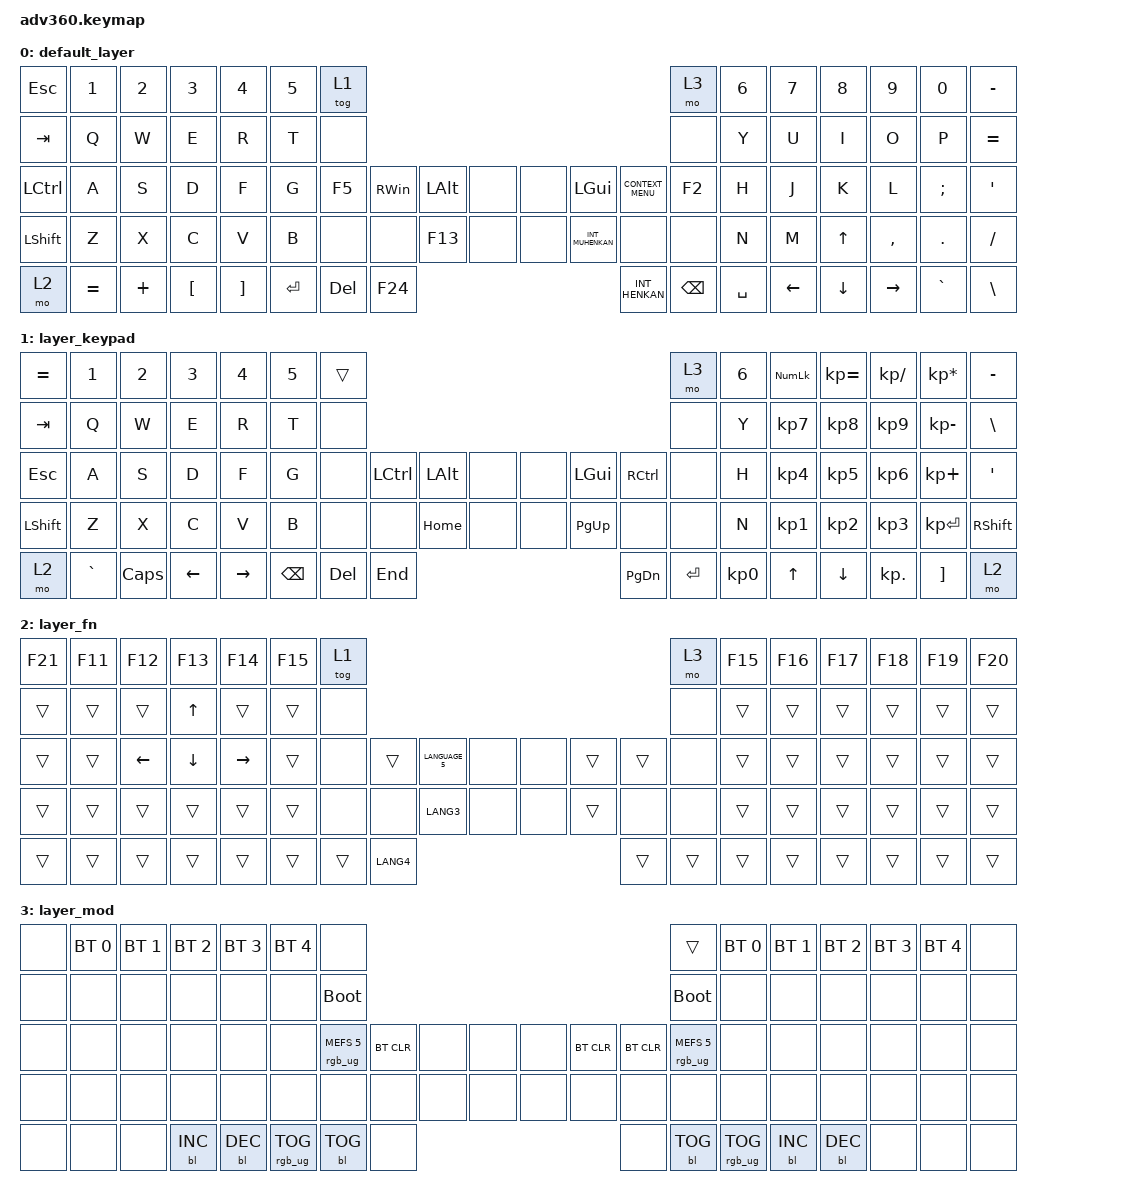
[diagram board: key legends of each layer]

/*
 * Copyright (c) 2020 The ZMK Contributors
 *
 * SPDX-License-Identifier: MIT
 */


/* THIS FILE WAS GENERATED!
 *
 * This file was generated automatically. You may or may not want to
 * edit it directly.
 */

#include <behaviors.dtsi>
#include <dt-bindings/zmk/keys.h>
#include <dt-bindings/zmk/bt.h>
#include <dt-bindings/zmk/rgb.h>
#include <dt-bindings/zmk/backlight.h>

/ {
  behaviors {
    #include "macros.dtsi"

    hm: homerow_mods {
        compatible = "zmk,behavior-hold-tap";
        label = "HOMEROW_MODS";
        #binding-cells = <2>;
        tapping-term-ms = <200>;
        quick_tap_ms = <175>;
        flavor = "tap-preferred";
        bindings = <&kp>, <&kp>;
    };
  };

    keymap {
        compatible = "zmk,keymap";


        default_layer {
            bindings = <
       &kp ESCAPE     &kp N1    &kp N2            &kp N3             &kp N4  &kp N5               &tog 1                                                                                     &mo 3  &kp N6          &kp N7          &kp N8           &kp N9         &kp N0      &kp MINUS
          &kp TAB      &kp Q     &kp W             &kp E              &kp R   &kp T                &none                                                                                     &none   &kp Y           &kp U           &kp I            &kp O          &kp P      &kp EQUAL
 &kp LEFT_CONTROL      &kp A     &kp S             &kp D              &kp F   &kp G               &kp F5  &kp RIGHT_WIN  &kp LALT   &none   &none          &kp LGUI  &kp K_CONTEXT_MENU     &kp F2   &kp H           &kp J           &kp K            &kp L  &kp SEMICOLON        &kp SQT
        &kp LSHFT      &kp Z     &kp X             &kp C              &kp V   &kp B                &none          &none   &kp F13   &none   &none  &kp INT_MUHENKAN               &none      &none   &kp N           &kp M    &kp UP_ARROW        &kp COMMA     &kp PERIOD      &kp SLASH
            &mo 2  &kp EQUAL  &kp PLUS  &kp LEFT_BRACKET  &kp RIGHT_BRACKET                    &kp ENTER        &kp DEL   &kp F24                    &kp INT_HENKAN       &kp BACKSPACE  &kp SPACE          &kp LEFT_ARROW  &kp DOWN_ARROW  &kp RIGHT_ARROW      &kp GRAVE  &kp BACKSLASH
            >;
        };

        layer_keypad {
            bindings = <
 &kp EQUAL     &kp N1    &kp N2    &kp N3     &kp N4  &kp N5              &trans                                                                 &mo 3  &kp N6  &kp KP_NUM  &kp KP_EQUAL  &kp KP_DIVIDE  &kp KP_MULTIPLY  &kp MINUS
   &kp TAB      &kp Q     &kp W     &kp E      &kp R   &kp T               &none                                                                 &none   &kp Y   &kp KP_N7     &kp KP_N8      &kp KP_N9     &kp KP_MINUS   &kp BSLH
   &kp ESC      &kp A     &kp S     &kp D      &kp F   &kp G               &none  &kp LCTRL  &kp LALT   &none   &none   &kp LGUI  &kp RCTRL      &none   &kp H   &kp KP_N4     &kp KP_N5      &kp KP_N6      &kp KP_PLUS    &kp SQT
 &kp LSHFT      &kp Z     &kp X     &kp C      &kp V   &kp B               &none      &none  &kp HOME   &none   &none  &kp PG_UP      &none      &none   &kp N   &kp KP_N1     &kp KP_N2      &kp KP_N3     &kp KP_ENTER  &kp RSHFT
     &mo 2  &kp GRAVE  &kp CAPS  &kp LEFT  &kp RIGHT                    &kp BSPC    &kp DEL   &kp END                  &kp PG_DN  &kp ENTER  &kp KP_N0              &kp UP      &kp DOWN     &kp KP_DOT         &kp RBKT      &mo 2
            >;
        };

        layer_fn {
            bindings = <
 &kp F21  &kp F11   &kp F12   &kp F13    &kp F14  &kp F15            &tog 1                                                           &mo 3  &kp F15  &kp F16  &kp F17  &kp F18  &kp F19  &kp F20
  &trans   &trans    &trans    &kp UP     &trans   &trans             &none                                                           &none   &trans   &trans   &trans   &trans   &trans   &trans
  &trans   &trans  &kp LEFT  &kp DOWN  &kp RIGHT   &trans             &none  &trans  &kp LANGUAGE_5   &none   &none  &trans  &trans   &none   &trans   &trans   &trans   &trans   &trans   &trans
  &trans   &trans    &trans    &trans     &trans   &trans             &none   &none       &kp LANG3   &none   &none  &trans   &none   &none   &trans   &trans   &trans   &trans   &trans   &trans
  &trans   &trans    &trans    &trans     &trans                     &trans  &trans       &kp LANG4                  &trans  &trans  &trans            &trans   &trans   &trans   &trans   &trans
            >;
        };

        layer_mod {
            bindings = <
  &none  &bt BT_SEL 0  &bt BT_SEL 1  &bt BT_SEL 2  &bt BT_SEL 3  &bt BT_SEL 4                             &none                                                                              &trans  &bt BT_SEL 0  &bt BT_SEL 1  &bt BT_SEL 2  &bt BT_SEL 3  &bt BT_SEL 4   &none
  &none         &none         &none         &none         &none         &none                       &bootloader                                                                         &bootloader         &none         &none         &none         &none         &none   &none
  &none         &none         &none         &none         &none         &none            &rgb_ug RGB_MEFS_CMD 5  &bt BT_CLR   &none   &none   &none  &bt BT_CLR  &bt BT_CLR  &rgb_ug RGB_MEFS_CMD 5         &none         &none         &none         &none         &none   &none
  &none         &none         &none         &none         &none         &none                             &none       &none   &none   &none   &none       &none       &none                   &none         &none         &none         &none         &none         &none   &none
  &none         &none         &none    &bl BL_INC    &bl BL_DEC                                 &rgb_ug RGB_TOG  &bl BL_TOG   &none                       &none  &bl BL_TOG         &rgb_ug RGB_TOG                  &bl BL_INC    &bl BL_DEC         &none         &none   &none
            >;
        };

    };
};
